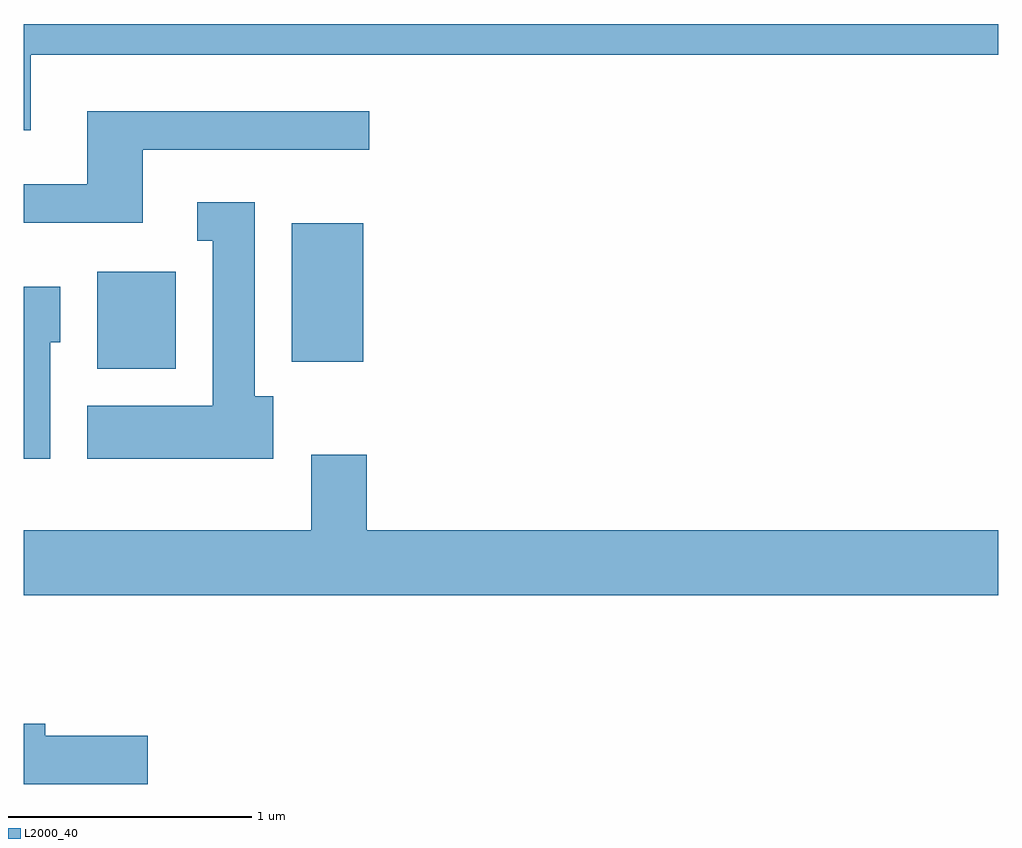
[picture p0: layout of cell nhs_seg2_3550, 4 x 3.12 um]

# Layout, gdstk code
import gdstk
lib = gdstk.Library(unit=1e-6, precision=1e-09)
def R(c, l, rs):  # rectangles x0, y0, x1, y1
    for r in rs: c.add(gdstk.rectangle(r[:2], r[2:], *l))
def P(c, l, *ps):  # polygons
    for p in ps: c.add(gdstk.Polygon(p, *l))
L2000_40 = (2000, 40)

nhs_seg2_3550 = lib.new_cell('nhs_seg2_3550')
R(nhs_seg2_3550, L2000_40, [(289.911,1020.386,290.234,1020.784), (290.711,1020.416,291.004,1020.984)])
P(nhs_seg2_3550, L2000_40, [(289.639,1021.676),(293.611,1021.676),(293.611,1021.802),(289.611,1021.802),(289.611,1021.366),(289.639,1021.366)],
  [(290.099,1021.286),(291.028,1021.286),(291.028,1021.444),(289.871,1021.444),(289.871,1021.144),(289.611,1021.144),(289.611,1020.986),(290.099,1020.986)],
  [(290.634,1020.274),(290.559,1020.274),(290.559,1021.069),(290.323,1021.069),(290.323,1020.911),(290.386,1020.911),(290.386,1020.234),(289.871,1020.234),(289.871,1020.016),(290.634,1020.016)],
  [(289.719,1020.496),(289.759,1020.496),(289.759,1020.724),(289.611,1020.724),(289.611,1020.016),(289.719,1020.016)],
  [(293.611,1019.724),(291.019,1019.724),(291.019,1020.034),(290.791,1020.034),(290.791,1019.724),(289.611,1019.724),(289.611,1019.456),(293.611,1019.456)],
  [(290.119,1018.879),(289.699,1018.879),(289.699,1018.929),(289.611,1018.929),(289.611,1018.681),(290.119,1018.681)])

lib.write_gds('nhs_seg2_3550.gds')
